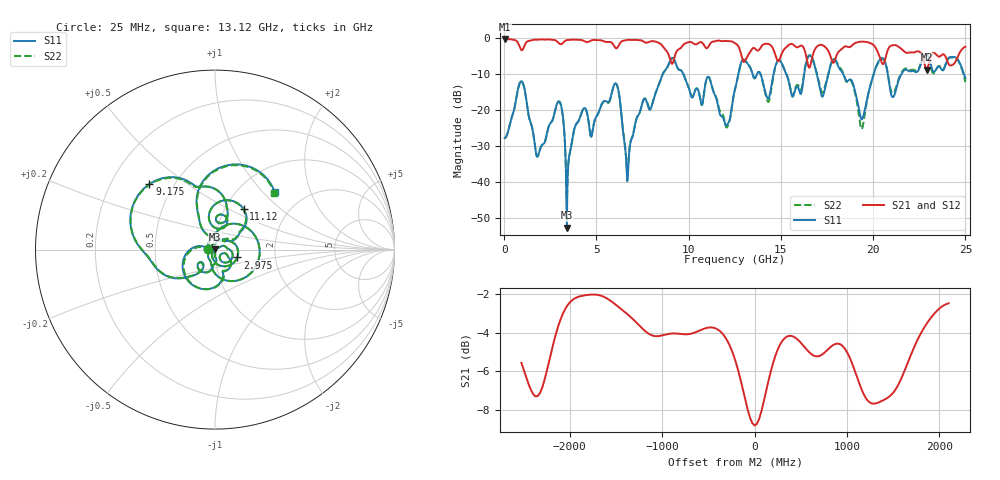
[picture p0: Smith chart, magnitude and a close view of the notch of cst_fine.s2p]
! R_s4_rect_cap5: Finite board 24 × 16 mm, via L1 → L4, a capacitor between the planes 5 mm away, no return via
! stackup: 4-layer 1.6 mm FR-4
! ports: 1 L1, 2 L4
! CST Studio Suite 2025.5 Release from 2025-05-30, time domain (FIT, hexahedral, PBA), 646380 mesh cells, 199 s
! mesh: {'lpw': 30.0, 'lpb': 30.0, 'minstep': 0.0, 'ratio': 20}; ports: port 1 (face); port 2 (face)
! interpolated from CST's 1001 samples to the case grid
# Hz S RI R 50
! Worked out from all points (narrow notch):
!   1000 points, 25 MHz to 25 GHz, reference 50 ohm
!   highest |S21| = -0.36 dB at 25 MHz (marker M1); lowest = -8.8 dB at 22.9 GHz (marker M2)
!   notch at M2: 6.8 dB deep, 425 MHz wide at half that depth
!   lowest |S11| = -52.5 dB at 3.4 GHz (marker M3), VSWR 1.00, Z = 50 + j0.231 ohm
!   |S11| at or under -10 dB: start of sweep to 8.6 GHz; 9.708 GHz to 12.7 GHz (2.989 GHz wide, 26.7 % of centre); 18.38 GHz to 20.03 GHz (1.654 GHz wide, 8.61 % of centre)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
!   |S22| runs from -47.4 to -4.6 dB; largest |S21 - S12| = 0.00083
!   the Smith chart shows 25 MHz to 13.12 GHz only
!   S11 on the Smith chart (normalised r, x): 25 MHz: 0.92, +0.01; 2.975 GHz: 1.28, -0.11; 9.175 GHz: 0.37, +0.37; 11.12 GHz: 1.22, +0.60; 13.12 GHz: 1.43, +1.17
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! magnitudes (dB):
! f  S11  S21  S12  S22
! 25 MHz  -27.8  -0.4  -0.4  -27.8
! 900 MHz  -12.1  -3.2  -3.2  -12.1
! 1.8 GHz  -32.9  -0.5  -0.5  -32.9
! 2.975 GHz  -17.6  -1.5  -1.5  -17.7
! 3.4 GHz  -52.5  -0.6  -0.6  -47.4
! 4.2 GHz  -20.7  -0.6  -0.6  -20.7
! 6.075 GHz  -12.7  -2.9  -2.9  -12.8
! 6.7 GHz  -38.7  -0.6  -0.6  -37.0
! 8.35 GHz  -13.4  -1.3  -1.3  -13.4
! 9.175 GHz  -5.7  -6.5  -6.6  -5.8
! 11.12 GHz  -11.2  -2.0  -2.0  -11.2
! 12.07 GHz  -24.2  -0.9  -0.9  -24.8
! 12.53 GHz  -14.0  -1.5  -1.5  -14.0
! 13.12 GHz  -6.7  -5.7  -5.7  -6.8
! 14.3 GHz  -16.8  -1.7  -1.7  -17.7
! 16.68 GHz  -5.5  -6.0  -6.0  -5.3
! 18 GHz  -6.6  -5.1  -5.1  -6.5
! 19.38 GHz  -22.6  -1.1  -1.1  -25.3
! 20.25 GHz  -6.9  -3.9  -3.9  -7.2
! 20.85 GHz  -12.0  -2.8  -2.8  -11.6
! 22.9 GHz  -4.6  -8.8  -8.8  -4.8
! 25 GHz  -11.2  -2.5  -2.5  -12.3
